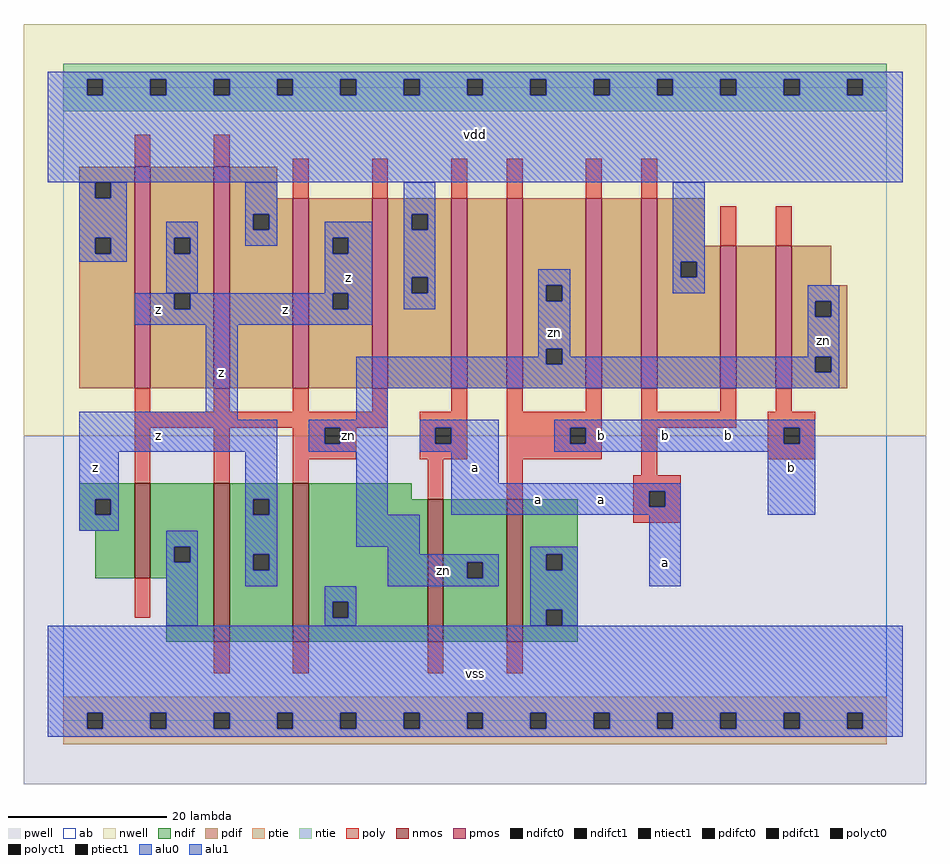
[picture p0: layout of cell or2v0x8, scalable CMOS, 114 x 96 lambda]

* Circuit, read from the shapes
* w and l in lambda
.subckt or2v0x8 a b vdd vss z zn
M1 vss zn z vss nfet w=12 l=2
M2 z zn vss vss nfet w=20 l=2 m=2
M3 zn a vss vss nfet w=18 l=2
M4 vss b zn vss nfet w=18 l=2
M5 z zn vdd vdd pfet w=28 l=2 m=2
M6 z zn vdd vdd pfet w=24 l=2 m=2
M7 n1 a vdd vdd pfet w=24 l=2
M8 zn b n1 vdd pfet w=24 l=2
M9 n2 b zn vdd pfet w=24 l=2
M10 vdd a n2 vdd pfet w=24 l=2
M11 n3 a vdd vdd pfet w=18 l=2
M12 zn b n3 vdd pfet w=18 l=2
.ends

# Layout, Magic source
magic
tech scmos
<< ab >>
rect 0 0 104 80
<< nwell >>
rect -5 36 109 88
<< pwell >>
rect -5 -8 109 36
<< poly >>
rect 9 70 11 74
rect 19 70 21 74
rect 29 66 31 71
rect 39 66 41 71
rect 49 66 51 71
rect 56 66 58 71
rect 66 66 68 71
rect 73 66 75 71
rect 83 60 85 65
rect 90 60 92 65
rect 9 39 11 42
rect 19 39 21 42
rect 29 39 31 42
rect 39 39 41 42
rect 49 39 51 42
rect 9 37 41 39
rect 45 37 51 39
rect 9 30 11 37
rect 19 30 21 37
rect 29 35 33 37
rect 35 35 37 37
rect 29 33 37 35
rect 45 35 47 37
rect 49 35 51 37
rect 45 33 51 35
rect 56 39 58 42
rect 66 39 68 42
rect 56 37 68 39
rect 56 35 64 37
rect 66 35 68 37
rect 56 33 68 35
rect 73 39 75 42
rect 83 39 85 42
rect 90 39 92 42
rect 73 37 85 39
rect 89 37 95 39
rect 29 30 31 33
rect 9 13 11 18
rect 46 28 48 33
rect 56 28 58 33
rect 73 31 75 37
rect 89 35 91 37
rect 93 35 95 37
rect 89 33 95 35
rect 72 29 78 31
rect 72 27 74 29
rect 76 27 78 29
rect 72 25 78 27
rect 19 6 21 10
rect 29 6 31 10
rect 46 6 48 10
rect 56 6 58 10
<< ndif >>
rect 2 28 9 30
rect 2 26 4 28
rect 6 26 9 28
rect 2 24 9 26
rect 4 18 9 24
rect 11 22 19 30
rect 11 20 14 22
rect 16 20 19 22
rect 11 18 19 20
rect 13 10 19 18
rect 21 28 29 30
rect 21 26 24 28
rect 26 26 29 28
rect 21 21 29 26
rect 21 19 24 21
rect 26 19 29 21
rect 21 10 29 19
rect 31 28 44 30
rect 31 15 46 28
rect 31 13 34 15
rect 36 13 46 15
rect 31 10 46 13
rect 48 20 56 28
rect 48 18 51 20
rect 53 18 56 20
rect 48 10 56 18
rect 58 21 65 28
rect 58 19 61 21
rect 63 19 65 21
rect 58 14 65 19
rect 58 12 61 14
rect 63 12 65 14
rect 58 10 65 12
<< pdif >>
rect 2 68 9 70
rect 2 66 4 68
rect 6 66 9 68
rect 2 61 9 66
rect 2 59 4 61
rect 6 59 9 61
rect 2 42 9 59
rect 11 61 19 70
rect 11 59 14 61
rect 16 59 19 61
rect 11 54 19 59
rect 11 52 14 54
rect 16 52 19 54
rect 11 42 19 52
rect 21 66 27 70
rect 21 64 29 66
rect 21 62 24 64
rect 26 62 29 64
rect 21 42 29 62
rect 31 61 39 66
rect 31 59 34 61
rect 36 59 39 61
rect 31 54 39 59
rect 31 52 34 54
rect 36 52 39 54
rect 31 42 39 52
rect 41 64 49 66
rect 41 62 44 64
rect 46 62 49 64
rect 41 56 49 62
rect 41 54 44 56
rect 46 54 49 56
rect 41 42 49 54
rect 51 42 56 66
rect 58 55 66 66
rect 58 53 61 55
rect 63 53 66 55
rect 58 47 66 53
rect 58 45 61 47
rect 63 45 66 47
rect 58 42 66 45
rect 68 42 73 66
rect 75 60 81 66
rect 75 58 83 60
rect 75 56 78 58
rect 80 56 83 58
rect 75 42 83 56
rect 85 42 90 60
rect 92 55 97 60
rect 92 53 99 55
rect 92 51 95 53
rect 97 51 99 53
rect 92 46 99 51
rect 92 44 95 46
rect 97 44 99 46
rect 92 42 99 44
<< alu1 >>
rect -2 81 106 82
rect -2 79 3 81
rect 5 79 11 81
rect 13 79 19 81
rect 21 79 27 81
rect 29 79 35 81
rect 37 79 43 81
rect 45 79 51 81
rect 53 79 59 81
rect 61 79 67 81
rect 69 79 75 81
rect 77 79 83 81
rect 85 79 91 81
rect 93 79 99 81
rect 101 79 106 81
rect -2 68 106 79
rect 33 61 39 63
rect 33 59 34 61
rect 36 59 39 61
rect 33 54 39 59
rect 9 52 14 54
rect 16 52 34 54
rect 36 52 39 54
rect 9 50 39 52
rect 18 39 22 50
rect 2 38 22 39
rect 2 34 27 38
rect 45 37 55 38
rect 45 35 47 37
rect 49 35 55 37
rect 45 34 55 35
rect 62 37 95 38
rect 62 35 64 37
rect 66 35 91 37
rect 93 35 95 37
rect 62 34 95 35
rect 2 28 7 34
rect 2 26 4 28
rect 6 26 7 28
rect 2 24 7 26
rect 23 28 27 34
rect 23 26 24 28
rect 26 26 27 28
rect 23 21 27 26
rect 49 30 55 34
rect 49 29 78 30
rect 49 27 74 29
rect 76 27 78 29
rect 49 26 78 27
rect 89 26 95 34
rect 23 19 24 21
rect 26 19 27 21
rect 23 17 27 19
rect 74 17 78 26
rect -2 1 106 12
rect -2 -1 3 1
rect 5 -1 11 1
rect 13 -1 19 1
rect 21 -1 27 1
rect 29 -1 35 1
rect 37 -1 43 1
rect 45 -1 51 1
rect 53 -1 59 1
rect 61 -1 67 1
rect 69 -1 75 1
rect 77 -1 83 1
rect 85 -1 91 1
rect 93 -1 99 1
rect 101 -1 106 1
rect -2 -2 106 -1
<< ptie >>
rect 0 1 104 3
rect 0 -1 3 1
rect 5 -1 11 1
rect 13 -1 19 1
rect 21 -1 27 1
rect 29 -1 35 1
rect 37 -1 43 1
rect 45 -1 51 1
rect 53 -1 59 1
rect 61 -1 67 1
rect 69 -1 75 1
rect 77 -1 83 1
rect 85 -1 91 1
rect 93 -1 99 1
rect 101 -1 104 1
rect 0 -3 104 -1
<< ntie >>
rect 0 81 104 83
rect 0 79 3 81
rect 5 79 11 81
rect 13 79 19 81
rect 21 79 27 81
rect 29 79 35 81
rect 37 79 43 81
rect 45 79 51 81
rect 53 79 59 81
rect 61 79 67 81
rect 69 79 75 81
rect 77 79 83 81
rect 85 79 91 81
rect 93 79 99 81
rect 101 79 104 81
rect 0 77 104 79
<< nmos >>
rect 9 18 11 30
rect 19 10 21 30
rect 29 10 31 30
rect 46 10 48 28
rect 56 10 58 28
<< pmos >>
rect 9 42 11 70
rect 19 42 21 70
rect 29 42 31 66
rect 39 42 41 66
rect 49 42 51 66
rect 56 42 58 66
rect 66 42 68 66
rect 73 42 75 66
rect 83 42 85 60
rect 90 42 92 60
<< polyct0 >>
rect 33 35 35 37
<< polyct1 >>
rect 47 35 49 37
rect 64 35 66 37
rect 91 35 93 37
rect 74 27 76 29
<< ndifct0 >>
rect 14 20 16 22
rect 34 13 36 15
rect 51 18 53 20
rect 61 19 63 21
rect 61 12 63 14
<< ndifct1 >>
rect 4 26 6 28
rect 24 26 26 28
rect 24 19 26 21
<< ntiect1 >>
rect 3 79 5 81
rect 11 79 13 81
rect 19 79 21 81
rect 27 79 29 81
rect 35 79 37 81
rect 43 79 45 81
rect 51 79 53 81
rect 59 79 61 81
rect 67 79 69 81
rect 75 79 77 81
rect 83 79 85 81
rect 91 79 93 81
rect 99 79 101 81
<< ptiect1 >>
rect 3 -1 5 1
rect 11 -1 13 1
rect 19 -1 21 1
rect 27 -1 29 1
rect 35 -1 37 1
rect 43 -1 45 1
rect 51 -1 53 1
rect 59 -1 61 1
rect 67 -1 69 1
rect 75 -1 77 1
rect 83 -1 85 1
rect 91 -1 93 1
rect 99 -1 101 1
<< pdifct0 >>
rect 4 66 6 68
rect 4 59 6 61
rect 14 59 16 61
rect 24 62 26 64
rect 44 62 46 64
rect 44 54 46 56
rect 61 53 63 55
rect 61 45 63 47
rect 78 56 80 58
rect 95 51 97 53
rect 95 44 97 46
<< pdifct1 >>
rect 14 52 16 54
rect 34 59 36 61
rect 34 52 36 54
<< alu0 >>
rect 2 66 4 68
rect 6 66 8 68
rect 2 61 8 66
rect 23 64 27 68
rect 2 59 4 61
rect 6 59 8 61
rect 2 58 8 59
rect 13 61 17 63
rect 13 59 14 61
rect 16 59 17 61
rect 23 62 24 64
rect 26 62 27 64
rect 43 64 47 68
rect 23 60 27 62
rect 13 54 17 59
rect 43 62 44 64
rect 46 62 47 64
rect 43 56 47 62
rect 77 58 81 68
rect 43 54 44 56
rect 46 54 47 56
rect 43 52 47 54
rect 60 55 64 57
rect 60 53 61 55
rect 63 53 64 55
rect 77 56 78 58
rect 80 56 81 58
rect 77 54 81 56
rect 60 47 64 53
rect 60 46 61 47
rect 37 45 61 46
rect 63 46 64 47
rect 94 53 98 55
rect 94 51 95 53
rect 97 51 98 53
rect 94 46 98 51
rect 63 45 95 46
rect 37 44 95 45
rect 97 44 98 46
rect 37 42 98 44
rect 37 38 41 42
rect 31 37 41 38
rect 31 35 33 37
rect 35 35 41 37
rect 31 34 41 35
rect 13 22 17 24
rect 13 20 14 22
rect 16 20 17 22
rect 13 12 17 20
rect 37 26 41 34
rect 37 22 45 26
rect 41 21 45 22
rect 59 21 65 22
rect 41 20 55 21
rect 41 18 51 20
rect 53 18 55 20
rect 41 17 55 18
rect 59 19 61 21
rect 63 19 65 21
rect 33 15 37 17
rect 33 13 34 15
rect 36 13 37 15
rect 33 12 37 13
rect 59 14 65 19
rect 59 12 61 14
rect 63 12 65 14
<< labels >>
rlabel alu0 36 36 36 36 6 zn
rlabel alu0 48 19 48 19 6 zn
rlabel alu0 62 49 62 49 6 zn
rlabel alu0 96 48 96 48 6 zn
rlabel alu1 12 36 12 36 6 z
rlabel alu1 4 32 4 32 6 z
rlabel alu1 20 44 20 44 6 z
rlabel alu1 12 52 12 52 6 z
rlabel alu1 28 52 28 52 6 z
rlabel alu1 36 56 36 56 6 z
rlabel alu1 52 6 52 6 6 vss
rlabel alu1 76 20 76 20 6 a
rlabel alu1 52 32 52 32 6 a
rlabel alu1 68 36 68 36 6 b
rlabel alu1 76 36 76 36 6 b
rlabel alu1 68 28 68 28 6 a
rlabel alu1 60 28 60 28 6 a
rlabel alu1 52 74 52 74 6 vdd
rlabel alu1 84 36 84 36 6 b
rlabel alu1 92 32 92 32 6 b
<< end >>
